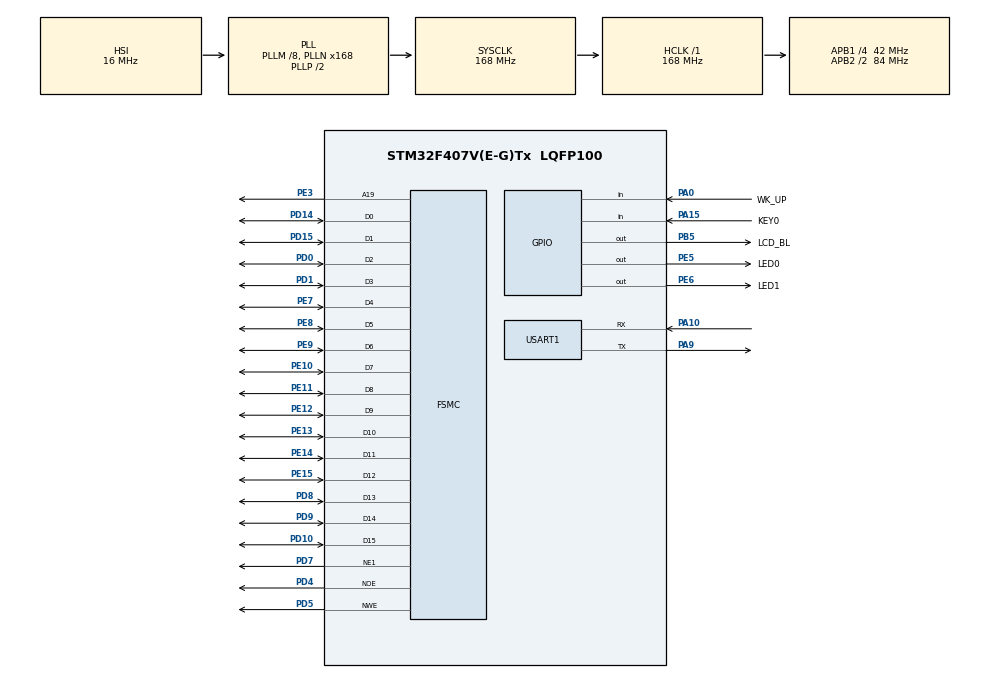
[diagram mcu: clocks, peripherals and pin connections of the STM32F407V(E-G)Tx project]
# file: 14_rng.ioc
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FSMC.AddressSetupTime1=15
FSMC.BusTurnAroundDuration1=0
FSMC.DataSetupTime1=60
FSMC.ExtendedAddressSetupTime1=9
FSMC.ExtendedDataSetupTime1=9
FSMC.ExtendedMode1=FSMC_EXTENDED_MODE_ENABLE
Mcu.Family=STM32F4
Mcu.Name=STM32F407V(E-G)Tx
Mcu.Package=LQFP100
NVIC.PriorityGroup=NVIC_PRIORITYGROUP_2
NVIC.TIM4_IRQn=true\:2\:1\:true\:false\:true\:true\:true\:true
NVIC.USART1_IRQn=true\:2\:2\:true\:false\:true\:true\:true\:true
PA0-WKUP.GPIO_Label=WK_UP
PA0-WKUP.GPIO_PuPd=GPIO_PULLDOWN
PA0-WKUP.Signal=GPIO_Input
PA10.Mode=Asynchronous
PA10.Signal=USART1_RX
PA13.Mode=Serial_Wire
PA13.Signal=SYS_JTMS-SWDIO
PA14.Mode=Serial_Wire
PA14.Signal=SYS_JTCK-SWCLK
PA15.GPIO_Label=KEY0
PA15.GPIO_PuPd=GPIO_PULLDOWN
PA15.Signal=GPIO_Input
PA9.Mode=Asynchronous
PA9.Signal=USART1_TX
PB5.GPIO_Label=LCD_BL
PB5.GPIO_PuPd=GPIO_PULLUP
PB5.GPIO_Speed=GPIO_SPEED_FREQ_HIGH
PB5.PinState=GPIO_PIN_SET
PB5.Signal=GPIO_Output
PC14-OSC32_IN.Mode=LSE-External-Oscillator
PC14-OSC32_IN.Signal=RCC_OSC32_IN
PC15-OSC32_OUT.Mode=LSE-External-Oscillator
PC15-OSC32_OUT.Signal=RCC_OSC32_OUT
PD0.Mode=16b-d1
PD0.Signal=FSMC_D2
PD1.Mode=16b-d1
PD1.Signal=FSMC_D3
PD10.Mode=16b-d1
PD10.Signal=FSMC_D15
PD14.Mode=16b-d1
PD14.Signal=FSMC_D0
PD15.Mode=16b-d1
PD15.Signal=FSMC_D1
PD4.Mode=Lcd1
PD4.Signal=FSMC_NOE
PD5.Mode=Lcd1
PD5.Signal=FSMC_NWE
PD7.Mode=NorPsramChipSelect1_1
PD7.Signal=FSMC_NE1
PD8.Mode=16b-d1
PD8.Signal=FSMC_D13
PD9.Mode=16b-d1
PD9.Signal=FSMC_D14
PE10.Mode=16b-d1
PE10.Signal=FSMC_D7
PE11.Mode=16b-d1
PE11.Signal=FSMC_D8
PE12.Mode=16b-d1
PE12.Signal=FSMC_D9
PE13.Mode=16b-d1
PE13.Signal=FSMC_D10
PE14.Mode=16b-d1
PE14.Signal=FSMC_D11
PE15.Mode=16b-d1
PE15.Signal=FSMC_D12
PE3.Mode=A19_1
PE3.Signal=FSMC_A19
PE5.GPIO_Label=LED0
PE5.GPIO_PuPd=GPIO_PULLUP
PE5.GPIO_Speed=GPIO_SPEED_FREQ_HIGH
PE5.PinState=GPIO_PIN_SET
PE5.Signal=GPIO_Output
PE6.GPIO_Label=LED1
PE6.GPIO_PuPd=GPIO_PULLUP
PE6.GPIO_Speed=GPIO_SPEED_FREQ_HIGH
PE6.PinState=GPIO_PIN_SET
PE6.Signal=GPIO_Output
PE7.Mode=16b-d1
PE7.Signal=FSMC_D4
PE8.Mode=16b-d1
PE8.Signal=FSMC_D5
PE9.Mode=16b-d1
PE9.Signal=FSMC_D6
PH0-OSC_IN.Mode=HSE-External-Oscillator
PH0-OSC_IN.Signal=RCC_OSC_IN
PH1-OSC_OUT.Mode=HSE-External-Oscillator
PH1-OSC_OUT.Signal=RCC_OSC_OUT
ProjectManager.HeapSize=0x200
ProjectManager.StackSize=0x400
ProjectManager.TargetToolchain=STM32CubeIDE
RCC.48MHZClocksFreq_Value=84000000
RCC.AHBFreq_Value=168000000
RCC.APB1CLKDivider=RCC_HCLK_DIV4
RCC.APB1Freq_Value=42000000
RCC.APB1TimFreq_Value=84000000
RCC.APB2CLKDivider=RCC_HCLK_DIV2
RCC.APB2Freq_Value=84000000
RCC.APB2TimFreq_Value=168000000
RCC.CortexFreq_Value=168000000
RCC.HCLKFreq_Value=168000000
RCC.HSE_VALUE=25000000
RCC.HSI_VALUE=16000000
RCC.PLLM=8
RCC.PLLN=168
RCC.SYSCLKFreq_VALUE=168000000
RCC.SYSCLKSource=RCC_SYSCLKSOURCE_PLLCLK
RCC.VCOOutputFreq_Value=336000000
TIM4.AutoReloadPreload=TIM_AUTORELOAD_PRELOAD_ENABLE
TIM4.Period=1000
TIM4.Prescaler=8400-1
USART1.VirtualMode=VM_ASYNC
VP_RNG_VS_RNG.Mode=RNG_Activate
VP_TIM4_VS_ClockSourceINT.Mode=Internal
board=custom

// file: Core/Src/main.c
/**
 ****************************************************************************************************
 * @file        main.c
 * @author      ALIENTEK
 * @brief       rng code
 * @license     Copyright (C) 2012-2024, ALIENTEK
 ****************************************************************************************************
 * @attention
 *
 * platform     : ALIENTEK M100-STM32F407 board
 * website      : www.alientek.com
 * forum        : www.openedv.com/forum.php
 *
 * change logs  :
 * version      data         notes
 * V1.0         20240409     the first version
 *
 ****************************************************************************************************
 */

/* USER CODE BEGIN Header */

/* USER CODE END Header */
#include "main.h"
#include "rng.h"
#include "tim.h"
#include "usart.h"
#include "gpio.h"
#include "fsmc.h"

/* USER CODE BEGIN Includes */
#include "../../ATK_Middlewares/USMART/usmart.h"
#include "../../BSP/LED/led.h"
#include "../../BSP/KEY/key.h"
#include "../../BSP/LCD/lcd.h"
/* USER CODE END Includes */

/* USER CODE BEGIN PD */
/**
 * @brief   Displays information about the experiment
 * @param   None
 * @retval  None
 */
void stm32f407vg_show_mesg(void)
{
	/* The serial port outputs the experimental information */
	printf("\n");
	printf("********************************\r\n");
	printf("STM32F407\r\n");
	printf("RNG Test\r\n");
	printf("ATOM@ALIENTEK\r\n");
	printf("KEY0:Get Random Num\r\n");
	printf("********************************\r\n");
	printf("\r\n");
}
/* USER CODE END PD */

void SystemClock_Config(void);

int main(void)
{
  /* USER CODE BEGIN 1 */
  uint8_t key;
  uint32_t random;
  uint8_t t = 0;
  /* USER CODE END 1 */

  /* MCU Configuration--------------------------------------------------------*/

  /* Reset of all peripherals, Initializes the Flash interface and the Systick. */
  HAL_Init();

  /* Configure the system clock */
  SystemClock_Config();

  /* Initialize all configured peripherals */
  MX_GPIO_Init();
  MX_USART1_UART_Init();
  MX_FSMC_Init();
  MX_TIM4_Init();
  MX_RNG_Init();
  /* USER CODE BEGIN 2 */
  lcd_init();
  /* Initialize LCD */
  stm32f407vg_show_mesg();
  lcd_show_string(30, 50, 200, 16, 16, "STM32", RED);
  lcd_show_string(30, 70, 200, 16, 16, "RNG TEST", RED);
  lcd_show_string(30, 90, 200, 16, 16, "ATOM@ALIENTEK", RED);

  lcd_show_string(30, 130, 200, 16, 16, "KEY0:Get Random Num", RED);
  lcd_show_string(30, 150, 200, 16, 16, "Random Num:", RED);
  lcd_show_string(30, 170, 200, 16, 16, "Random Num[0-9]:", RED);
  /* USER CODE END 2 */

  /* Infinite loop */
  /* USER CODE BEGIN WHILE */
  while (1)
  {
	  key = key_scan(0);

	  if (key == KEY0_PRES)   /* Get the random number and send it to the serial port */
	  {
	     random = rng_get_random_num();
	     lcd_show_num(30 + 8 * 11, 150, random, 10, 16, BLUE);
	  }

	  if ((t % 20) == 0)      /* Get the random number between 0 and 9 and send it to the serial port */
	  {
	      LED0_TOGGLE();
	      random = rng_get_random_range(0, 9);
	      lcd_show_num(30 + 8 * 16, 170, random, 1, 16, BLUE);
	  }

	  t++;
	  HAL_Delay(10);   		 /* delay 10ms */
    /* USER CODE END WHILE */

  }
}

void SystemClock_Config(void)
{
  RCC_OscInitTypeDef RCC_OscInitStruct = {0};
  RCC_ClkInitTypeDef RCC_ClkInitStruct = {0};

  /** Configure the main internal regulator output voltage
  */
  __HAL_RCC_PWR_CLK_ENABLE();
  __HAL_PWR_VOLTAGESCALING_CONFIG(PWR_REGULATOR_VOLTAGE_SCALE1);

  /** Initializes the RCC Oscillators according to the specified parameters
  * in the RCC_OscInitTypeDef structure.
  */
  RCC_OscInitStruct.OscillatorType = RCC_OSCILLATORTYPE_HSI;
  RCC_OscInitStruct.HSIState = RCC_HSI_ON;
  RCC_OscInitStruct.HSICalibrationValue = RCC_HSICALIBRATION_DEFAULT;
  RCC_OscInitStruct.PLL.PLLState = RCC_PLL_ON;
  RCC_OscInitStruct.PLL.PLLSource = RCC_PLLSOURCE_HSI;
  RCC_OscInitStruct.PLL.PLLM = 8;
  RCC_OscInitStruct.PLL.PLLN = 168;
  RCC_OscInitStruct.PLL.PLLP = RCC_PLLP_DIV2;
  RCC_OscInitStruct.PLL.PLLQ = 4;
  if (HAL_RCC_OscConfig(&RCC_OscInitStruct) != HAL_OK)
  {
    Error_Handler();
  }

  /** Initializes the CPU, AHB and APB buses clocks
  */
  RCC_ClkInitStruct.ClockType = RCC_CLOCKTYPE_HCLK|RCC_CLOCKTYPE_SYSCLK
                              |RCC_CLOCKTYPE_PCLK1|RCC_CLOCKTYPE_PCLK2;
  RCC_ClkInitStruct.SYSCLKSource = RCC_SYSCLKSOURCE_PLLCLK;
  RCC_ClkInitStruct.AHBCLKDivider = RCC_SYSCLK_DIV1;
  RCC_ClkInitStruct.APB1CLKDivider = RCC_HCLK_DIV4;
  RCC_ClkInitStruct.APB2CLKDivider = RCC_HCLK_DIV2;

  if (HAL_RCC_ClockConfig(&RCC_ClkInitStruct, FLASH_LATENCY_5) != HAL_OK)
  {
    Error_Handler();
  }
}

void Error_Handler(void)
{
  __disable_irq();
  while (1)
  {
  }
}
